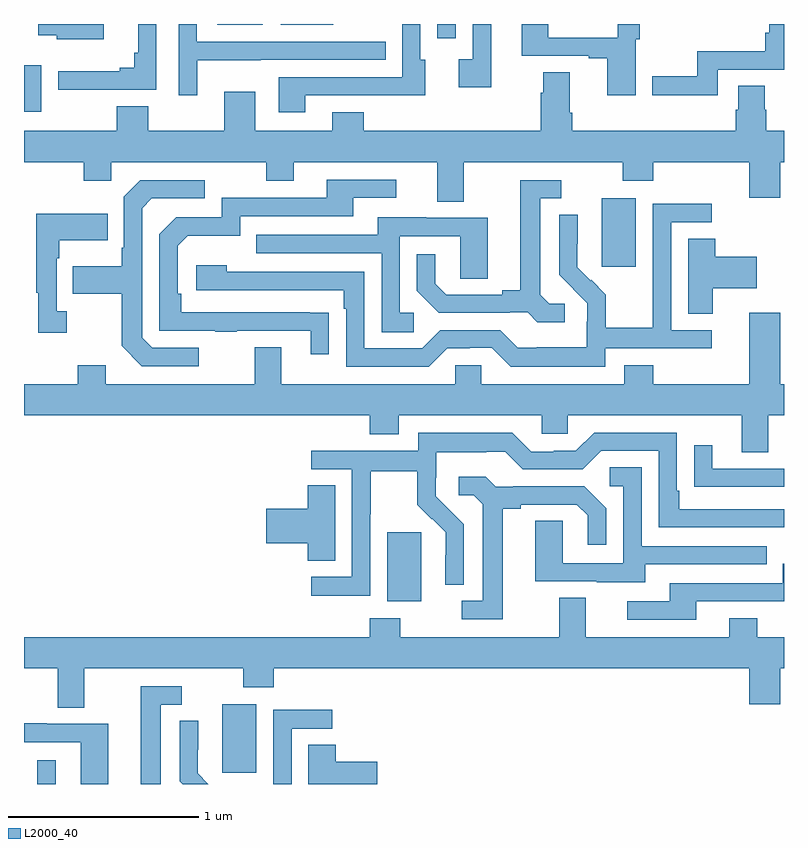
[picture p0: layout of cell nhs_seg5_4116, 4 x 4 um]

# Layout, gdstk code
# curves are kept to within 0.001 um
import gdstk
lib = gdstk.Library(unit=1e-6, precision=1e-09)
def R(c, l, rs):  # rectangles x0, y0, x1, y1
    for r in rs: c.add(gdstk.rectangle(r[:2], r[2:], *l))
def P(c, l, *ps):  # polygons
    for p in ps: c.add(gdstk.Polygon(p, *l))
L2000_40 = (2000, 40)

nhs_seg5_4116 = lib.new_cell('nhs_seg5_4116')
R(nhs_seg5_4116, L2000_40, [(353.07,874.799,353.167,874.924), (354.044,874.857,354.223,875.218), (354.911,875.762,355.09,876.123), (356.042,877.521,356.221,877.882), (353,878.336,353.092,878.581), (355.176,878.724,355.272,878.799), (354.017,878.795,354.256,878.799), (354.35,878.795,354.628,878.799)])
P(nhs_seg5_4116, L2000_40, [(356.22,878.72),(356.24,878.72),(356.24,878.799),(356.124,878.799),(356.124,878.727),(355.759,878.727),(355.759,878.799),(355.619,878.799),(355.619,878.631),(355.973,878.631),(355.973,878.619),(356.069,878.619),(356.069,878.424),(356.22,878.424)],
  [(353.911,878.609),(354.245,878.609),(354.245,878.61),(354.905,878.61),(354.905,878.706),(353.91,878.706),(353.91,878.799),(353.814,878.799),(353.814,878.424),(353.911,878.424)],
  [(353.419,878.799),(353.075,878.799),(353.075,878.741),(353.172,878.741),(353.172,878.72),(353.419,878.72)],
  [(355.459,878.799),(355.362,878.799),(355.362,878.614),(355.287,878.614),(355.287,878.466),(355.459,878.466)],
  [(356.652,878.559),(357,878.559),(357,878.799),(356.922,878.799),(356.922,878.752),(356.902,878.752),(356.902,878.656),(356.544,878.656),(356.544,878.525),(356.307,878.525),(356.307,878.423),(356.652,878.423)],
  [(353.393,878.454),(353.697,878.454),(353.697,878.799),(353.6,878.799),(353.6,878.647),(353.581,878.647),(353.581,878.57),(353.504,878.57),(353.504,878.551),(353.181,878.551),(353.181,878.453),(353.393,878.453)],
  [(354.481,878.424),(354.893,878.424),(354.893,878.423),(355.111,878.423),(355.111,878.61),(355.086,878.61),(355.086,878.799),(354.99,878.799),(354.99,878.52),(354.341,878.52),(354.341,878.334),(354.481,878.334)],
  [(355.315,878.072),(356.152,878.072),(356.152,877.973),(356.312,877.973),(356.312,878.072),(356.816,878.072),(356.816,877.884),(356.98,877.884),(356.98,878.072),(357,878.072),(357,878.236),(356.907,878.236),(356.907,878.349),(356.899,878.349),(356.899,878.474),(356.759,878.474),(356.759,878.349),(356.747,878.349),(356.747,878.236),(355.886,878.236),(355.886,878.332),(355.873,878.332),(355.873,878.546),(355.733,878.546),(355.733,878.438),(355.721,878.438),(355.721,878.236),(354.787,878.236),(354.787,878.335),(354.623,878.335),(354.623,878.236),(354.217,878.236),(354.217,878.443),(354.053,878.443),(354.053,878.236),(353.653,878.236),(353.653,878.365),(353.489,878.365),(353.489,878.236),(353,878.236),(353,878.072),(353.314,878.072),(353.314,877.973),(353.46,877.973),(353.46,878.072),(354.274,878.072),(354.274,877.973),(354.421,877.973),(354.421,878.072),(355.175,878.072),(355.175,877.864),(355.315,877.864)],
  [(354.605,877.28),(353.828,877.281),(353.828,877.378),(353.808,877.378),(353.808,877.632),(353.861,877.685),(354.138,877.685),(354.138,877.788),(354.733,877.788),(354.733,877.884),(354.958,877.884),(354.958,877.98),(354.593,877.98),(354.593,877.884),(354.042,877.884),(354.042,877.782),(353.802,877.782),(353.712,877.692),(353.712,877.185),(354.007,877.185),(354.007,877.18),(354.119,877.18),(354.119,877.185),(354.509,877.185),(354.509,877.062),(354.605,877.062)],
  [(353.92,877.095),(353.676,877.095),(353.622,877.149),(353.622,877.83),(353.673,877.881),(353.95,877.881),(353.95,877.977),(353.613,877.977),(353.526,877.89),(353.526,877.621),(353.514,877.621),(353.514,877.525),(353.257,877.525),(353.257,877.378),(353.514,877.378),(353.514,877.105),(353.619,876.999),(353.92,876.999)],
  [(355.846,877.326),(355.764,877.326),(355.717,877.373),(355.717,877.881),(355.828,877.881),(355.828,877.977),(355.613,877.977),(355.613,877.397),(355.517,877.397),(355.517,877.374),(355.222,877.374),(355.165,877.431),(355.165,877.588),(355.068,877.588),(355.068,877.394),(355.184,877.278),(355.556,877.278),(355.556,877.281),(355.65,877.281),(355.702,877.229),(355.846,877.229)],
  [(356.058,877.092),(356.62,877.092),(356.62,877.188),(356.406,877.188),(356.406,877.755),(356.62,877.755),(356.62,877.854),(356.31,877.854),(356.31,877.424),(356.308,877.424),(356.308,877.201),(356.063,877.201),(356.063,877.375),(355.986,877.452),(355.983,877.449),(355.913,877.52),(355.914,877.796),(355.818,877.796),(355.818,877.478),(355.964,877.33),(355.964,877.233),(355.962,877.233),(355.962,877.099),(355.699,877.099),(355.699,877.095),(355.599,877.095),(355.506,877.188),(355.191,877.188),(355.095,877.092),(354.792,877.092),(354.792,877.494),(354.068,877.494),(354.068,877.528),(353.907,877.528),(353.907,877.398),(354.683,877.398),(354.683,877.301),(354.696,877.301),(354.696,876.996),(355.131,876.996),(355.227,877.092),(355.346,877.092),(355.346,877.095),(355.461,877.095),(355.561,876.995),(356.058,876.995)],
  [(353.224,877.286),(353.172,877.286),(353.172,877.565),(353.185,877.565),(353.185,877.661),(353.441,877.661),(353.441,877.801),(353.064,877.801),(353.064,877.385),(353.075,877.385),(353.075,877.173),(353.224,877.173)],
  [(355.051,877.278),(354.978,877.278),(354.978,877.683),(355.296,877.683),(355.296,877.459),(355.441,877.459),(355.441,877.779),(355.117,877.779),(355.117,877.783),(354.863,877.783),(354.863,877.689),(354.223,877.689),(354.223,877.593),(354.882,877.593),(354.882,877.177),(355.051,877.177)],
  [(356.626,877.409),(356.857,877.409),(356.857,877.575),(356.639,877.575),(356.639,877.67),(356.495,877.67),(356.495,877.273),(356.626,877.273)],
  [(356.917,876.74),(357,876.74),(357,876.904),(356.98,876.904),(356.98,877.279),(356.816,877.279),(356.816,876.904),(356.312,876.904),(356.312,877.003),(356.159,877.003),(356.159,876.904),(355.407,876.904),(355.407,877.002),(355.269,877.002),(355.269,876.904),(354.355,876.904),(354.355,877.099),(354.215,877.099),(354.215,876.904),(353.431,876.904),(353.431,877.003),(353.284,877.003),(353.284,876.904),(353,876.904),(353,876.74),(354.821,876.74),(354.821,876.641),(354.973,876.641),(354.973,876.74),(355.725,876.74),(355.725,876.642),(355.863,876.642),(355.863,876.74),(356.777,876.74),(356.777,876.546),(356.917,876.546)],
  [(354.822,876.22),(354.825,876.22),(354.825,876.444),(355.069,876.444),(355.069,876.269),(355.146,876.192),(355.149,876.195),(355.22,876.125),(355.22,876.002),(355.218,876.002),(355.218,875.848),(355.314,875.848),(355.314,876.166),(355.168,876.314),(355.168,876.411),(355.17,876.411),(355.17,876.545),(355.433,876.545),(355.433,876.549),(355.533,876.549),(355.626,876.456),(355.941,876.456),(356.037,876.552),(356.34,876.552),(356.34,876.15),(357,876.15),(357,876.246),(356.449,876.246),(356.449,876.343),(356.436,876.343),(356.436,876.648),(356.001,876.648),(355.905,876.552),(355.787,876.552),(355.787,876.549),(355.671,876.549),(355.571,876.649),(355.074,876.649),(355.074,876.552),(354.513,876.552),(354.513,876.456),(354.726,876.456),(354.726,875.889),(354.513,875.889),(354.513,875.791),(354.822,875.791)],
  [(357,876.459),(356.623,876.459),(356.623,876.583),(356.527,876.583),(356.527,876.364),(356.629,876.364),(356.629,876.363),(357,876.363)],
  [(356.269,875.955),(356.909,875.955),(356.909,876.051),(356.25,876.051),(356.25,876.467),(356.082,876.467),(356.082,876.366),(356.154,876.366),(356.154,875.961),(355.836,875.961),(355.836,876.185),(355.691,876.185),(355.691,875.865),(356.015,875.865),(356.015,875.861),(356.269,875.861)],
  [(355.519,876.248),(355.615,876.248),(355.615,876.27),(355.91,876.27),(355.967,876.213),(355.967,876.057),(356.064,876.057),(356.064,876.25),(355.948,876.366),(355.576,876.366),(355.576,876.363),(355.482,876.363),(355.43,876.415),(355.287,876.415),(355.287,876.318),(355.368,876.318),(355.415,876.271),(355.415,875.763),(355.305,875.763),(355.305,875.667),(355.519,875.667)],
  [(354.637,876.371),(354.494,876.371),(354.494,876.248),(354.276,876.248),(354.276,876.065),(354.494,876.065),(354.494,875.974),(354.637,875.974)],
  [(356.539,875.76),(357,875.76),(357,875.959),(356.994,875.959),(356.994,875.856),(356.399,875.856),(356.399,875.76),(356.175,875.76),(356.175,875.664),(356.539,875.664)],
  [(353,875.408),(353.177,875.408),(353.177,875.2),(353.317,875.2),(353.317,875.408),(354.154,875.408),(354.154,875.309),(354.314,875.309),(354.314,875.408),(356.816,875.408),(356.816,875.22),(356.98,875.22),(356.98,875.408),(357,875.408),(357,875.572),(356.859,875.572),(356.859,875.671),(356.711,875.671),(356.711,875.572),(355.957,875.572),(355.957,875.78),(355.817,875.78),(355.817,875.572),(354.981,875.572),(354.981,875.671),(354.821,875.671),(354.821,875.572),(353,875.572)],
  [(353.719,875.217),(353.83,875.217),(353.83,875.313),(353.615,875.313),(353.615,874.799),(353.719,874.799)],
  [(354.408,875.091),(354.622,875.091),(354.622,875.19),(354.312,875.19),(354.312,874.799),(354.408,874.799)],
  [(353.915,874.856),(353.915,874.978),(353.916,874.978),(353.916,875.132),(353.82,875.132),(353.82,874.814),(353.835,874.799),(353.971,874.799)],
  [(353.443,875.115),(353.119,875.115),(353.119,875.119),(353,875.119),(353,875.019),(353.298,875.019),(353.298,874.799),(353.443,874.799)],
  [(354.859,874.916),(354.641,874.916),(354.641,875.006),(354.497,875.006),(354.497,874.799),(354.859,874.799)])

lib.write_gds('nhs_seg5_4116.gds')
